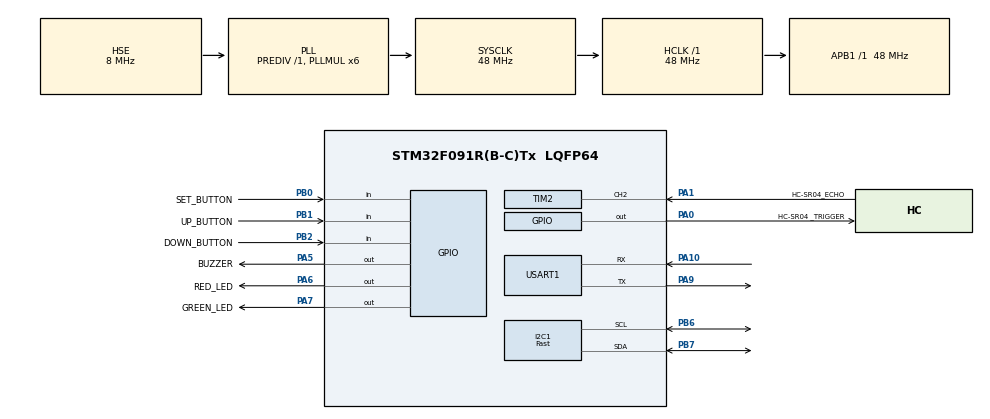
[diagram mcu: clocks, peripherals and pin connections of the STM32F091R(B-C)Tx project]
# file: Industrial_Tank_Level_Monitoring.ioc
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I2C1.I2C_Speed_Mode=I2C_Fast
I2C1.Timing=0x0010020A
Mcu.Family=STM32F0
Mcu.Name=STM32F091R(B-C)Tx
Mcu.Package=LQFP64
NVIC.TIM2_IRQn=true\:0\:0\:false\:false\:true\:true\:true\:true
NVIC.TIM6_DAC_IRQn=true\:0\:0\:false\:false\:true\:true\:true\:true
PA0.GPIO_Label=HC-SR04 _TRIGGER
PA0.Signal=GPIO_Output
PA1.GPIO_Label=HC-SR04_ECHO
PA1.Signal=S_TIM2_CH2
PA10.Mode=Asynchronous
PA10.Signal=USART1_RX
PA13.Mode=Serial_Wire
PA13.Signal=SYS_SWDIO
PA14.Mode=Serial_Wire
PA14.Signal=SYS_SWCLK
PA5.GPIO_Label=BUZZER
PA5.Signal=GPIO_Output
PA6.GPIO_Label=RED_LED
PA6.Signal=GPIO_Output
PA7.GPIO_Label=GREEN_LED
PA7.Signal=GPIO_Output
PA9.Mode=Asynchronous
PA9.Signal=USART1_TX
PB0.GPIO_Label=SET_BUTTON
PB0.GPIO_PuPd=GPIO_PULLUP
PB0.Signal=GPIO_Input
PB1.GPIO_Label=UP_BUTTON
PB1.GPIO_PuPd=GPIO_PULLUP
PB1.Signal=GPIO_Input
PB2.GPIO_Label=DOWN_BUTTON
PB2.GPIO_PuPd=GPIO_PULLUP
PB2.Signal=GPIO_Input
PB6.Mode=I2C
PB6.Signal=I2C1_SCL
PB7.Mode=I2C
PB7.Signal=I2C1_SDA
PF0-OSC_IN.Mode=HSE-External-Clock-Source
PF0-OSC_IN.Signal=RCC_OSC_IN
ProjectManager.HeapSize=0x200
ProjectManager.StackSize=0x400
ProjectManager.TargetToolchain=STM32CubeIDE
RCC.AHBFreq_Value=48000000
RCC.APB1Freq_Value=48000000
RCC.APB1TimFreq_Value=48000000
RCC.HCLKFreq_Value=48000000
RCC.PLLMUL=RCC_PLL_MUL6
RCC.PLLSourceVirtual=RCC_PLLSOURCE_HSE
RCC.SYSCLKFreq_VALUE=48000000
RCC.SYSCLKSource=RCC_SYSCLKSOURCE_PLLCLK
SH.S_TIM2_CH2.0=TIM2_CH2,Input_Capture2_from_TI2
TIM2.Channel-Input_Capture2_from_TI2=TIM_CHANNEL_2
TIM2.Period=65535
TIM2.Prescaler=48-1
TIM6.Prescaler=48-1
USART1.VirtualMode-Asynchronous=VM_ASYNC
VP_TIM2_VS_ClockSourceINT.Mode=Internal
VP_TIM6_VS_ClockSourceINT.Mode=Enable_Timer
board=custom

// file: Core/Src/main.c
/* USER CODE BEGIN Header */
/**
  ******************************************************************************
  * @file           : main.c
  * @brief          : Main program body
  ******************************************************************************
  * @attention
  *
  * Copyright (c) 2026 STMicroelectronics.
  * All rights reserved.
  *
  * This software is licensed under terms that can be found in the LICENSE file
  * in the root directory of this software component.
  * If no LICENSE file comes with this software, it is provided AS-IS.
  *
  ******************************************************************************
  */
/* USER CODE END Header */
#include "main.h"
#include "i2c.h"
#include "tim.h"
#include "usart.h"
#include "gpio.h"

/* USER CODE BEGIN Includes */
#include"ultrasonic.h"
#include "i2c_lcd.h"
#include <stdio.h>
#include"string.h"
#include"eeprom.h"
/* USER CODE END Includes */

/* USER CODE BEGIN PD */
#define TANK_HEIGHT_CM 24.0f
#define CRITICAL_LEVEL_THRESHOLD  10.0f    // 10%
#define EEPROM_LOW_LEVEL_ADDR  0x0000
/* USER CODE END PD */

/* USER CODE BEGIN PV */
uint8_t settingMode = 0;
uint8_t LowLevelThreshold;

/* USER CODE END PV */

void SystemClock_Config(void);

int main(void)
{

  /* MCU Configuration--------------------------------------------------------*/

  /* Reset of all peripherals, Initializes the Flash interface and the Systick. */
  HAL_Init();

  /* Configure the system clock */
  SystemClock_Config();

  /* Initialize all configured peripherals */
  MX_GPIO_Init();
  MX_I2C1_Init();
  MX_TIM2_Init();
  MX_USART1_UART_Init();
  MX_TIM6_Init();
  /* USER CODE BEGIN 2 */

  lcd_init();
  lcd_clear();

  //====Loop to check which devices are connected on I2C line ===============//
  /*  uint8_t found = 0;

    for(uint8_t address = 1; address < 128; address++)
    {
        if(HAL_I2C_IsDeviceReady(&hi2c1,
                                 address << 1,
                                 2,
                                 10) == HAL_OK)
        {
            found = address;          //put breakpoint here and check found variable
        }
    }
  */
  //===================================================================//

//============EEPROM data write check ================================//
/*
  uint8_t testWrite = 25;
  uint8_t testRead = 0;

  EEPROM_WriteByte(0x0000, testWrite);

  HAL_Delay(10);

  testRead = EEPROM_ReadByte(0x0000);

*/
   //put breakpoint on this line and check for testRead value
//===================================================================//

  LowLevelThreshold= EEPROM_ReadByte(EEPROM_LOW_LEVEL_ADDR);
  if(LowLevelThreshold == 0xFF)
  {
      LowLevelThreshold = 20;
  }

  HAL_TIM_Base_Start(&htim6);
  HAL_TIM_IC_Start_IT(&htim2, TIM_CHANNEL_2);

  char lcdLine1[17];
  char lcdLine2[17];

  char uartBuffer[100];

  /* USER CODE END 2 */

  /* Infinite loop */
  while (1)
  {

    /* USER CODE BEGIN 3 */

//================== Menu Setup ====================================//
// SET button    (pull up resistor is used for set button)
	 if (HAL_GPIO_ReadPin(SET_BUTTON_GPIO_Port, SET_BUTTON_Pin)== GPIO_PIN_RESET)
	  {
	   HAL_Delay(20);  //debounce

	   if (HAL_GPIO_ReadPin(SET_BUTTON_GPIO_Port, SET_BUTTON_Pin)== GPIO_PIN_RESET)
		{
			HAL_Delay(200);
			if (settingMode == 1)
			 {
				EEPROM_WriteByte(EEPROM_LOW_LEVEL_ADDR, LowLevelThreshold); // If we are already in settings mode, save the new threshold before exiting
			 }

			settingMode = !settingMode; // Toggle between Normal Mode and Settings Mode
			HAL_Delay(20);  //release debounce
		}
	  }
//=========================================================================//
		if (settingMode == 0) // Normal mode
				{

			HCSR04_Trigger();

			HAL_Delay(200);

			float distance = HCSR04_GetDistance();
			float waterLevel = TANK_HEIGHT_CM - distance;
			float levelPercent = (waterLevel * 100.0f) / TANK_HEIGHT_CM;

			sprintf(lcdLine1, "Level:%3.0f%%", levelPercent);

			sprintf(lcdLine2, "Dist:%5.1fcm", distance);

			lcd_put_cursor(0, 0);
			lcd_send_string(lcdLine1);

			lcd_put_cursor(1, 0);
			lcd_send_string(lcdLine2);

			if (levelPercent <= CRITICAL_LEVEL_THRESHOLD) {
				HAL_GPIO_WritePin(RED_LED_GPIO_Port,
				RED_LED_Pin, GPIO_PIN_SET);

				HAL_GPIO_WritePin(GREEN_LED_GPIO_Port,
				GREEN_LED_Pin, GPIO_PIN_RESET);

				HAL_GPIO_WritePin(BUZZER_GPIO_Port,
				BUZZER_Pin, GPIO_PIN_SET);
			} else if (levelPercent <= LowLevelThreshold) {
				HAL_GPIO_WritePin(RED_LED_GPIO_Port,
				RED_LED_Pin, GPIO_PIN_SET);

				HAL_GPIO_WritePin(GREEN_LED_GPIO_Port,
				GREEN_LED_Pin, GPIO_PIN_RESET);

				HAL_GPIO_WritePin(BUZZER_GPIO_Port,
				BUZZER_Pin, GPIO_PIN_RESET);
			} else {
				HAL_GPIO_WritePin(RED_LED_GPIO_Port,
				RED_LED_Pin, GPIO_PIN_RESET);

				HAL_GPIO_WritePin(GREEN_LED_GPIO_Port,
				GREEN_LED_Pin, GPIO_PIN_SET);

				HAL_GPIO_WritePin(BUZZER_GPIO_Port,
				BUZZER_Pin, GPIO_PIN_RESET);
			}

			sprintf(uartBuffer,
					"Distance: %.1f cm\r\n" "Water Level: %.1f cm\r\n" "Level: %.0f %%\r\n\r\n",
					distance, waterLevel, levelPercent);

			HAL_UART_Transmit(&huart1, (uint8_t*) uartBuffer,
					strlen(uartBuffer), HAL_MAX_DELAY);

//==========================================================================================
		} else                 // Settings mode
		{
			if (HAL_GPIO_ReadPin(UP_BUTTON_GPIO_Port, UP_BUTTON_Pin)    //  UP button
					== GPIO_PIN_RESET) {
				HAL_Delay(100);

				if (LowLevelThreshold < 100) {
					LowLevelThreshold++;
				}
			}
			if (HAL_GPIO_ReadPin(DOWN_BUTTON_GPIO_Port, DOWN_BUTTON_Pin)   //DOWN button
					== GPIO_PIN_RESET) {
				HAL_Delay(100);
				if (LowLevelThreshold > 0) {
					LowLevelThreshold--;
				}
			}

			// ---------- Display current threshold ----------//

			lcd_put_cursor(0, 0);
			lcd_send_string("LOW LEVEL       ");

			lcd_put_cursor(1, 0);
			sprintf(lcdLine2,"%3d%%             ", LowLevelThreshold);
			lcd_send_string(lcdLine2);

		}

		/* USER CODE END 3 */
	}
}

void SystemClock_Config(void)
{
  RCC_OscInitTypeDef RCC_OscInitStruct = {0};
  RCC_ClkInitTypeDef RCC_ClkInitStruct = {0};
  RCC_PeriphCLKInitTypeDef PeriphClkInit = {0};

  /** Initializes the RCC Oscillators according to the specified parameters
  * in the RCC_OscInitTypeDef structure.
  */
  RCC_OscInitStruct.OscillatorType = RCC_OSCILLATORTYPE_HSI|RCC_OSCILLATORTYPE_HSE;
  RCC_OscInitStruct.HSEState = RCC_HSE_BYPASS;
  RCC_OscInitStruct.HSIState = RCC_HSI_ON;
  RCC_OscInitStruct.HSICalibrationValue = RCC_HSICALIBRATION_DEFAULT;
  RCC_OscInitStruct.PLL.PLLState = RCC_PLL_ON;
  RCC_OscInitStruct.PLL.PLLSource = RCC_PLLSOURCE_HSE;
  RCC_OscInitStruct.PLL.PLLMUL = RCC_PLL_MUL6;
  RCC_OscInitStruct.PLL.PREDIV = RCC_PREDIV_DIV1;
  if (HAL_RCC_OscConfig(&RCC_OscInitStruct) != HAL_OK)
  {
    Error_Handler();
  }

  /** Initializes the CPU, AHB and APB buses clocks
  */
  RCC_ClkInitStruct.ClockType = RCC_CLOCKTYPE_HCLK|RCC_CLOCKTYPE_SYSCLK
                              |RCC_CLOCKTYPE_PCLK1;
  RCC_ClkInitStruct.SYSCLKSource = RCC_SYSCLKSOURCE_PLLCLK;
  RCC_ClkInitStruct.AHBCLKDivider = RCC_SYSCLK_DIV1;
  RCC_ClkInitStruct.APB1CLKDivider = RCC_HCLK_DIV1;

  if (HAL_RCC_ClockConfig(&RCC_ClkInitStruct, FLASH_LATENCY_1) != HAL_OK)
  {
    Error_Handler();
  }
  PeriphClkInit.PeriphClockSelection = RCC_PERIPHCLK_USART1|RCC_PERIPHCLK_I2C1;
  PeriphClkInit.Usart1ClockSelection = RCC_USART1CLKSOURCE_PCLK1;
  PeriphClkInit.I2c1ClockSelection = RCC_I2C1CLKSOURCE_HSI;
  if (HAL_RCCEx_PeriphCLKConfig(&PeriphClkInit) != HAL_OK)
  {
    Error_Handler();
  }
}

void Error_Handler(void)
{
  __disable_irq();
  while (1)
  {
  }
}
